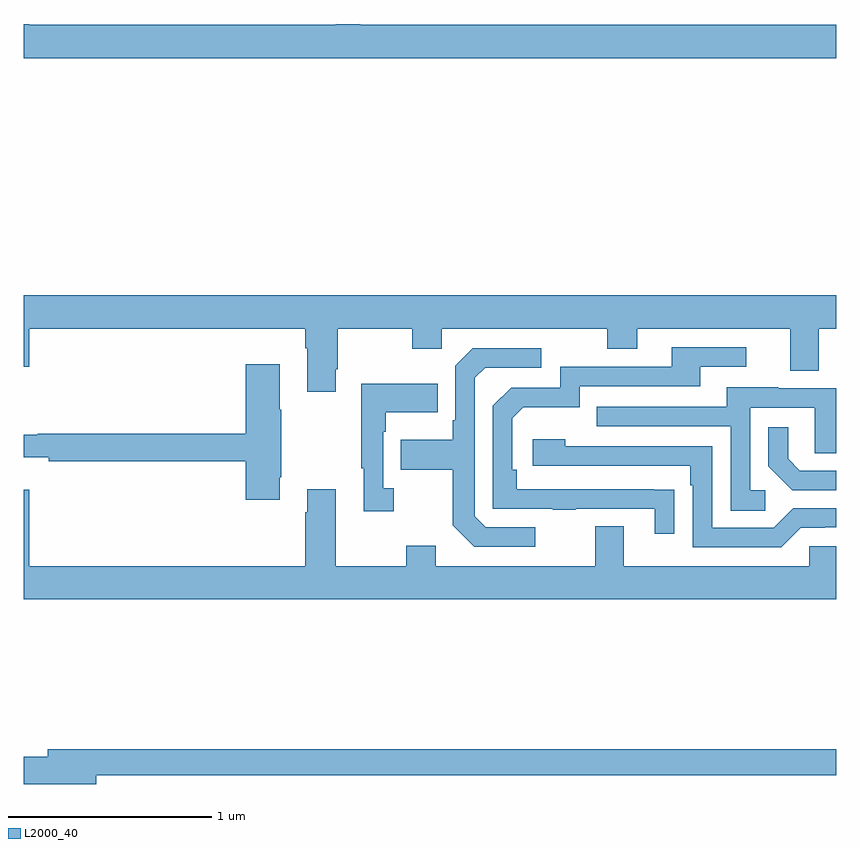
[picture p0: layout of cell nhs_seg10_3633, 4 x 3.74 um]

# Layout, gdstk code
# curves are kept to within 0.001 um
import gdstk
lib = gdstk.Library(unit=1e-6, precision=1e-09)
def P(c, l, *ps):  # polygons
    for p in ps: c.add(gdstk.Polygon(p, *l))
L2000_40 = (2000, 40)

nhs_seg10_3633 = lib.new_cell('nhs_seg10_3633')
P(nhs_seg10_3633, L2000_40, [(313,1284.496),(310.657,1284.496),(310.657,1284.5),(310.535,1284.5),(310.535,1284.496),(309.028,1284.496),(309.028,1284.5),(309,1284.5),(309,1284.332),(313,1284.332)],
  [(310.537,1282.801),(310.545,1282.801),(310.545,1283),(310.912,1283),(310.912,1282.901),(311.058,1282.901),(311.058,1283),(311.872,1283),(311.872,1282.901),(312.019,1282.901),(312.019,1283),(312.773,1283),(312.773,1282.792),(312.913,1282.792),(312.913,1283),(313,1283),(313,1283.164),(309,1283.164),(309,1282.812),(309.028,1282.812),(309.028,1283),(310.385,1283),(310.385,1282.904),(310.397,1282.904),(310.397,1282.689),(310.537,1282.689)],
  [(312.203,1282.208),(311.426,1282.209),(311.426,1282.306),(311.406,1282.306),(311.406,1282.56),(311.459,1282.613),(311.736,1282.613),(311.736,1282.716),(312.331,1282.716),(312.331,1282.812),(312.556,1282.812),(312.556,1282.908),(312.191,1282.908),(312.191,1282.812),(311.64,1282.812),(311.64,1282.71),(311.4,1282.71),(311.31,1282.62),(311.31,1282.113),(311.605,1282.113),(311.605,1282.108),(311.717,1282.108),(311.717,1282.113),(312.107,1282.113),(312.107,1281.99),(312.203,1281.99)],
  [(311.518,1282.023),(311.274,1282.023),(311.22,1282.077),(311.22,1282.758),(311.271,1282.809),(311.548,1282.809),(311.548,1282.905),(311.211,1282.905),(311.124,1282.818),(311.124,1282.549),(311.112,1282.549),(311.112,1282.453),(310.855,1282.453),(310.855,1282.306),(311.112,1282.306),(311.112,1282.033),(311.217,1281.927),(311.518,1281.927)],
  [(310.261,1282.27),(310.269,1282.27),(310.269,1282.601),(310.261,1282.601),(310.261,1282.825),(310.094,1282.825),(310.094,1282.484),(309.07,1282.484),(309.07,1282.477),(309,1282.477),(309,1282.367),(309.124,1282.367),(309.124,1282.348),(310.094,1282.348),(310.094,1282.158),(310.261,1282.158)],
  [(310.822,1282.214),(310.77,1282.214),(310.77,1282.493),(310.783,1282.493),(310.783,1282.589),(311.039,1282.589),(311.039,1282.729),(310.662,1282.729),(310.662,1282.313),(310.673,1282.313),(310.673,1282.101),(310.822,1282.101)],
  [(312.649,1282.206),(312.576,1282.206),(312.576,1282.611),(312.894,1282.611),(312.894,1282.387),(313,1282.387),(313,1282.707),(312.715,1282.707),(312.715,1282.711),(312.461,1282.711),(312.461,1282.617),(311.821,1282.617),(311.821,1282.521),(312.48,1282.521),(312.48,1282.105),(312.649,1282.105)],
  [(313,1282.302),(312.82,1282.302),(312.763,1282.359),(312.763,1282.516),(312.666,1282.516),(312.666,1282.322),(312.782,1282.206),(313,1282.206)],
  [(312.825,1282.02),(312.944,1282.02),(312.944,1282.023),(313,1282.023),(313,1282.116),(312.789,1282.116),(312.693,1282.02),(312.39,1282.02),(312.39,1282.422),(311.666,1282.422),(311.666,1282.456),(311.505,1282.456),(311.505,1282.326),(312.281,1282.326),(312.281,1282.229),(312.294,1282.229),(312.294,1281.924),(312.729,1281.924)],
  [(313,1281.93),(312.867,1281.93),(312.867,1281.832),(311.953,1281.832),(311.953,1282.027),(311.813,1282.027),(311.813,1281.832),(311.029,1281.832),(311.029,1281.931),(310.882,1281.931),(310.882,1281.832),(310.537,1281.832),(310.537,1282.21),(310.397,1282.21),(310.397,1282.097),(310.385,1282.097),(310.385,1281.832),(309.028,1281.832),(309.028,1282.207),(309,1282.207),(309,1281.668),(313,1281.668)],
  [(309.358,1280.802),(313,1280.802),(313,1280.93),(309.119,1280.93),(309.119,1280.894),(309,1280.894),(309,1280.759),(309.358,1280.759)])

lib.write_gds('nhs_seg10_3633.gds')
